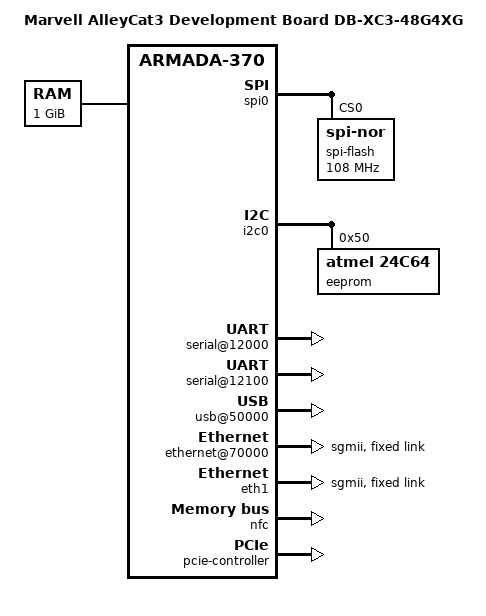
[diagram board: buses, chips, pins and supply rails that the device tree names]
/*
 * Device Tree file for Marvell AlleyCat3 RD board
 * (RD-XC3-48G4XG)
 *
 * Copyright (C) 2017 Marvell
 *
 * This file is licensed under the terms of the GNU General Public
 * License version 2.  This program is licensed "as is" without any
 * warranty of any kind, whether express or implied.
 */

/dts-v1/;
#include "msys-ac3.dtsi"

/ {
	model = "Marvell AlleyCat3 Development Board DB-XC3-48G4XG";
	compatible = "marvell,msys", "marvell,msys-ac3",
		     "marvell,msys-ac3-db", "marvell,armada-370-xp";

	chosen {
		stdout-path = "serial0:115200n8";
	};

	memory {
		/*
		 * 1GB of plug-in RAM modules by default. The amount
		 * of memory available can be changed by the
		 * bootloader according the size of the module
		 * actually plugged.
		 */
		device_type = "memory";
		reg = <0x00000000 0x00000000 0x00000000 0x40000000>;
	};

	soc {
		ranges = <MBUS_ID(0xf0, 0x01) 0 0 0xf1000000 0x100000
			  MBUS_ID(0x01, 0x1d) 0 0 0xfff00000 0x100000
			  MBUS_ID(0x01, 0x2f) 0 0 0xf0000000 0x1000000
			  MBUS_ID(0x03, 0x00) 0 0 0xf8000000 0x4000000	/* switch */
			  MBUS_ID(0x08, 0x00) 0 0 0xfc000000 0x100000>;	/* dfx */

		internal-regs {
			spi0: spi@10600 {
				status = "okay";

				spi-flash@0 {
					#address-cells = <1>;
					#size-cells = <1>;
					compatible = "jedec,spi-nor";
					reg = <0>; /* Chip select 0 */
					spi-max-frequency = <108000000>;
				};
			};

			i2c0: i2c@11000 {
				pinctrl-names = "default";
				pinctrl-0 = <&i2c0_pins>;
				eeprom@50 {
					compatible = "atmel,24c64";
					pagesize = <32>;
					reg = <0x50>;
					marvell,board_id_reg = <0x7>;
				};
			};

			pinctrl@18000 {
				pp-pin {
					marvell,pins = "mpp13";
					marvell,function = "pp";
				};

				pex-pin {
					marvell,pins = "mpp5";
					marvell,function = "pex";
					linux,phandle = <0xb>;
					phandle = <0xb>;
				};
			};

			serial@12000 {
				status = "okay";
			};

			serial@12100 {
				pinctrl-names = "default";
				pinctrl-0 = <&uart1_pins>;
				status = "okay";
			};

			usb@50000 {
				status = "okay";
			};

			ethernet@70000 {
				status = "okay";
				compatible = "marvell,armada-xp-neta";
				phy-mode = "sgmii";
				fixed-link {
					speed = <1000>;
					full-duplex;
				};
			};
			eth1:ethernet@74000 {
				status = "okay";
				compatible = "marvell,armada-xp-neta";
				phy-mode = "sgmii";
				fixed-link {
					speed = <1000>;
					full-duplex;
				};
			};

			nfc: nand@d0000 {
				status = "okay";
				#address-cells = <1>;
				#size-cells = <1>;

				num-cs = <1>;
				nand-ecc-strength = <4>;
				nand-ecc-step-size = <512>;
				marvell,nand-keep-config;
				marvell,nand-enable-arbiter;
				nand-on-flash-bbt;

				partition@0 {
					label = "U-Boot";
					reg = <0x00000000 0x00800000>;
					read-only;
				};

				partition@800000 {
					label = "uImage";
					reg = <0x00800000 0x00800000>;
					read-only;
				};

				partition@1000000 {
					label = "Root";
					reg = <0x01000000 0x3f000000>;
				};
			};
		};

		pcie-controller {
			compatible = "marvell,armada-370-pcie";
			status = "okay";
			device_type = "pci";
			#address-cells = <0x3>;
			#size-cells = <0x2>;
			msi-parent = <0x2>;
			bus-range = <0x0 0xff>;
			ranges =
			       <0x82000000 0 0x40000 MBUS_ID(0xf0, 0x01) 0x40000 0 0x00002000
				0x82000000 0x1 0     MBUS_ID(0x04, 0xe8) 0 1 0
				0x81000000 0x1 0     MBUS_ID(0x04, 0xe0) 0 1 0>;

			pcie@1,0 {
				device_type = "pci";
				assigned-addresses = <0x82000800 0x0 0x40000 0x0 0x2000>;
				reg = <0x800 0x0 0x0 0x0 0x0>;
				#address-cells = <3>;
				#size-cells = <2>;
				#interrupt-cells = <1>;
				ranges = <0x82000000 0 0 0x82000000 0x1 0 1 0
					  0x81000000 0 0 0x81000000 0x1 0 1 0>;
				interrupt-map-mask = <0 0 0 0>;
				interrupt-map = <0 0 0 0 0x2 0x3a>;
				marvell,pcie-port = <0x0>;
				marvell,pcie-lane = <0x0>;
				clocks = <0x9 0x5>;
				status = "okay";
				pinctrl-names = "default";
				pinctrl-0 = <0xb>;
			};
		};
	};
};
